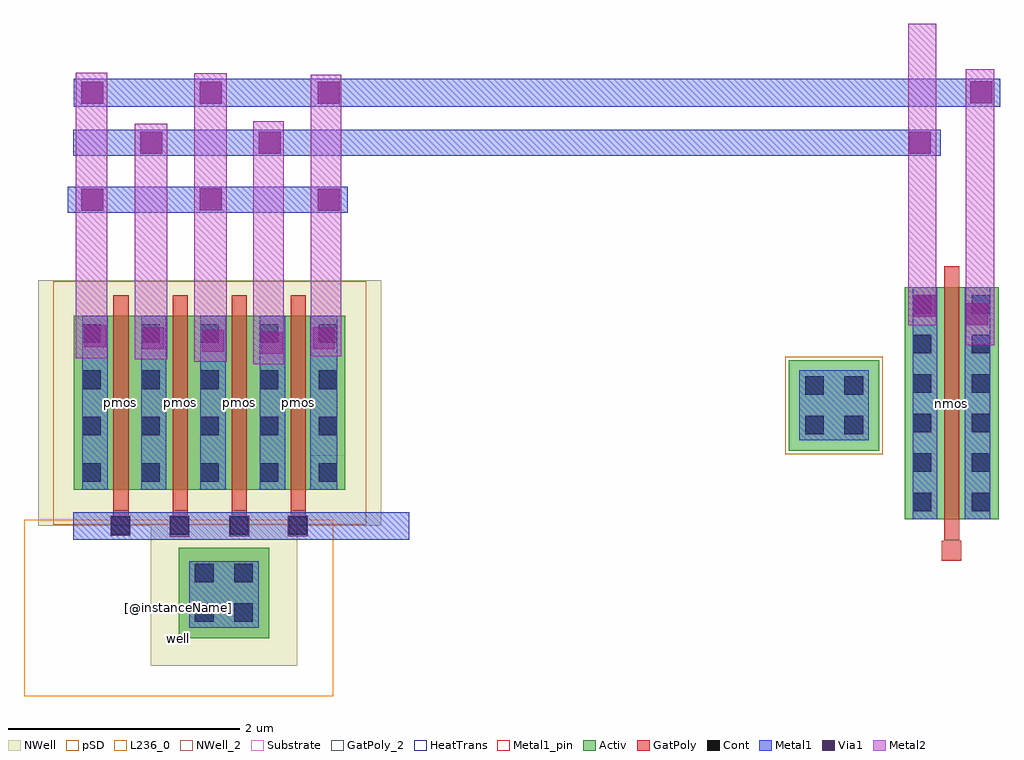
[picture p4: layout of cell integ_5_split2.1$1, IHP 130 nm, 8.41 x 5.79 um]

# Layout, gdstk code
import gdstk
lib = gdstk.Library(unit=1e-6, precision=1e-09)
def R(c, l, rs):  # rectangles x0, y0, x1, y1
    for r in rs: c.add(gdstk.rectangle(r[:2], r[2:], *l))
def A(c, l, x, y, w, h, nx, ny, dx, dy):  # array of equal rectangles
    R(c, l, [(x+i*dx, y+j*dy, x+i*dx+w, y+j*dy+h) for i in range(nx) for j in range(ny)])
def P(c, l, *ps):  # polygons
    for p in ps: c.add(gdstk.Polygon(p, *l))
Activ = (1, 0)
GatPoly = (5, 0)
GatPoly_2 = (5, 2)
Cont = (6, 0)
Metal1 = (8, 0)
Metal1_pin = (8, 2)
Metal2 = (10, 0)
pSD = (14, 0)
Via1 = (19, 0)
NWell = (31, 0)
NWell_2 = (31, 2)
Substrate = (40, 0)
HeatTrans = (51, 0)
L236_0 = (236, 0)

ptap = lib.new_cell('ptap')
R(ptap, Activ, [(0,0,0.78,0.78)])
R(ptap, Cont, [(0.14,0.14,0.3,0.3), (0.48,0.14,0.64,0.3), (0.14,0.48,0.3,0.64), (0.48,0.48,0.64,0.64)])
R(ptap, Metal1, [(0.09,0.09,0.69,0.69)])
R(ptap, Metal1_pin, [(0.09,0.09,0.69,0.69)])
R(ptap, pSD, [(-0.03,-0.03,0.81,0.81)])

integ_5_split2_1_1 = lib.new_cell('integ_5_split2.1$1')
A(integ_5_split2_1_1, Activ, -4.517, -0.459, 0.3, 0.3, 5, 1, 0.51, 0)
R(integ_5_split2_1_1, Activ, [(-3.614,-1.736,-2.834,-0.956), (2.645,-0.711,3.455,1.289), (2.645,-0.711,2.945,-0.411), (3.155,-0.711,3.455,-0.411), (-4.517,-0.459,-2.177,1.041)])
R(integ_5_split2_1_1, GatPoly, [(-4.177,-0.639,-4.047,1.221)])
P(integ_5_split2_1_1, GatPoly, [(-4.202,-0.853),(-4.202,-0.683),(-4.177,-0.683),(-4.177,1.221),(-4.047,1.221),(-4.047,-0.683),(-4.032,-0.683),(-4.032,-0.853)],
  [(-3.692,-0.863),(-3.692,-0.683),(-3.667,-0.683),(-3.667,1.221),(-3.537,1.221),(-3.537,-0.683),(-3.522,-0.683),(-3.522,-0.863)],
  [(-3.177,-0.858),(-3.177,-0.683),(-3.157,-0.683),(-3.157,1.221),(-3.027,1.221),(-3.027,-0.683),(-3.007,-0.683),(-3.007,-0.858)],
  [(-2.672,-0.858),(-2.672,-0.683),(-2.647,-0.683),(-2.647,1.221),(-2.517,1.221),(-2.517,-0.683),(-2.502,-0.683),(-2.502,-0.858)],
  [(2.963,-1.068),(2.963,-0.898),(2.985,-0.898),(2.985,1.469),(3.115,1.469),(3.115,-0.898),(3.133,-0.898),(3.133,-1.068)])
R(integ_5_split2_1_1, GatPoly_2, [(2.985,-0.891,3.115,1.469)])
A(integ_5_split2_1_1, Cont, 2.715, -0.641, 0.16, 0.16, 1, 6, 0, 0.34)
A(integ_5_split2_1_1, Cont, 3.225, -0.641, 0.16, 0.16, 1, 6, 0, 0.34)
A(integ_5_split2_1_1, Cont, -4.447, -0.389, 0.16, 0.16, 5, 4, 0.51, 0.4)
R(integ_5_split2_1_1, Cont, [(-3.474,-1.596,-3.314,-1.436), (-3.134,-1.596,-2.974,-1.436), (-3.474,-1.256,-3.314,-1.096), (-3.134,-1.256,-2.974,-1.096), (-4.196,-0.846,-4.036,-0.686), (-3.689,-0.846,-3.529,-0.686), (-3.173,-0.846,-3.013,-0.686), (-2.666,-0.846,-2.506,-0.686)])
R(integ_5_split2_1_1, Metal1, [(-3.524,-1.646,-2.924,-1.075), (-4.525,-0.888,-1.625,-0.652), (2.715,-0.711,2.928,1.289), (3.161,-0.711,3.385,1.289), (-4.447,-0.459,-4.226,1.041), (-3.937,-0.459,-3.722,1.041), (-3.427,-0.459,-3.209,1.041), (-2.917,-0.459,-2.697,1.041), (-2.479,-0.459,-2.247,1.041), (-4.57,1.933,-2.158,2.155), (-4.525,2.422,2.955,2.646), (-4.521,2.846,3.467,3.086)])
R(integ_5_split2_1_1, Metal1_pin, [(-3.524,-1.646,-2.924,-1.075), (2.715,-0.711,2.928,1.289), (3.161,-0.711,3.385,1.289)])
R(integ_5_split2_1_1, Metal2, [(-2.971,0.624,-2.71,2.721), (-3.479,0.648,-3.202,3.132), (-3.994,0.669,-3.715,2.698), (-4.502,0.675,-4.231,3.14), (-2.476,0.695,-2.213,3.119), (3.17,0.79,3.418,3.168), (2.674,0.96,2.916,3.559)])
R(integ_5_split2_1_1, pSD, [(-4.697,-0.759,-1.997,1.341)])
R(integ_5_split2_1_1, Via1, [(-2.901,0.716,-2.711,0.906), (-3.413,0.732,-3.223,0.922), (-3.927,0.753,-3.737,0.943), (-2.459,0.755,-2.269,0.945), (-4.43,0.771,-4.24,0.961), (3.176,0.962,3.366,1.152), (2.717,1.033,2.907,1.223), (-2.414,1.949,-2.224,2.139), (-4.454,1.95,-4.264,2.14), (-3.431,1.951,-3.241,2.141), (-3.946,2.438,-3.756,2.628), (2.682,2.439,2.872,2.629), (-2.923,2.441,-2.733,2.631), (-3.431,2.87,-3.241,3.06), (-2.414,2.87,-2.224,3.06), (-4.454,2.872,-4.264,3.062), (3.212,2.876,3.402,3.066)])
R(integ_5_split2_1_1, NWell, [(-3.854,-1.976,-2.594,-0.716), (-4.827,-0.769,-1.867,1.351)])
R(integ_5_split2_1_1, NWell_2, [(-3.614,-1.736,-2.834,-0.956)])
R(integ_5_split2_1_1, Substrate, [(-2.477,-0.459,-2.177,-0.159)])
A(integ_5_split2_1_1, HeatTrans, -4.177, -0.639, 0.13, 1.86, 4, 1, 0.51, 0)
R(integ_5_split2_1_1, HeatTrans, [(2.985,-0.891,3.115,1.469)])
R(integ_5_split2_1_1, L236_0, [(-4.948,-2.236,-2.28,-0.716)])
integ_5_split2_1_1.add(gdstk.Reference(ptap, (1.646,-0.119)))
integ_5_split2_1_1.add(gdstk.Label('nmos', (3.05,0.289), layer=51, texttype=0))
integ_5_split2_1_1.add(gdstk.Label('pmos', (-4.112,0.291), layer=51, texttype=0))
integ_5_split2_1_1.add(gdstk.Label('pmos', (-3.602,0.291), layer=51, texttype=0))
integ_5_split2_1_1.add(gdstk.Label('pmos', (-3.092,0.291), layer=51, texttype=0))
integ_5_split2_1_1.add(gdstk.Label('pmos', (-2.582,0.291), layer=51, texttype=0))
integ_5_split2_1_1.add(gdstk.Label('pmos', (-4.112,0.291), layer=63, texttype=0))
integ_5_split2_1_1.add(gdstk.Label('well', (-3.614,-1.736), layer=63, texttype=0))
integ_5_split2_1_1.add(gdstk.Label('[@instanceName]', (-3.614,-1.476), layer=236, texttype=1))

lib.write_gds('integ_5_split2.1_1.gds')
